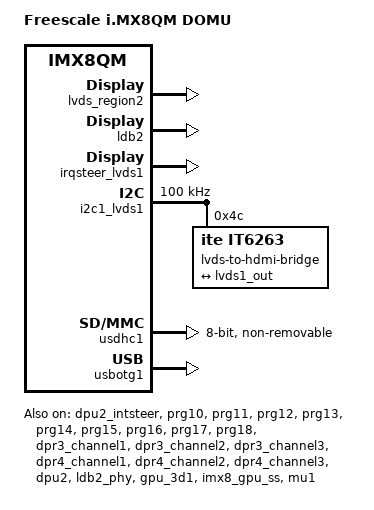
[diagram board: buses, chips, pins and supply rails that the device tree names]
/*
 * Copyright 2018 NXP
 *
 * This program is free software; you can redistribute it and/or
 * modify it under the terms of the GNU General Public License
 * as published by the Free Software Foundation; either version 2
 * of the License, or (at your option) any later version.
 *
 * This program is distributed in the hope that it will be useful,
 * but WITHOUT ANY WARRANTY; without even the implied warranty of
 * MERCHANTABILITY or FITNESS FOR A PARTICULAR PURPOSE.  See the
 * GNU General Public License for more details.
 */

/dts-v1/;
#include <dt-bindings/interrupt-controller/arm-gic.h>
#include <dt-bindings/clock/imx8qm-clock.h>
#include <dt-bindings/input/input.h>
#include <dt-bindings/soc/imx_rsrc.h>
#include <dt-bindings/soc/imx8_hsio.h>
#include <dt-bindings/soc/imx8_pd.h>
#include <dt-bindings/pinctrl/pads-imx8qm.h>
#include <dt-bindings/gpio/gpio.h>
#include <dt-bindings/thermal/thermal.h>

/ {
	model = "Freescale i.MX8QM DOMU";
	compatible = "fsl,imx8qm-mek", "fsl,imx8qm";

	#address-cells = <2>;
	#size-cells = <2>;

	/delete-node/ aliases;

	aliases {
		mmc0 = &usdhc1;
		dpu1 = &dpu2;
		ldb1 = &ldb2;
	};

	passthrough {
		compatible = "simple-bus";
		ranges;
		#address-cells = <2>;
		#size-cells = <2>;

		clk: clk {
			compatible = "fsl,imx8qm-clk";
			#clock-cells = <1>;
			fsl,lpcg_base_offset = <0x00000001 0x00000000>;
		};

		iomuxc: iomuxc {
			compatible = "fsl,imx8qm-iomuxc";
		};

		#include "fsl-imx8qm-device.dtsi"

		mu1: mu@15d1d0000 {
			compatible = "fsl,imx8-mu";
			reg = <0x1 0x5d1d0000 0x0 0x10000>;
			interrupts = <GIC_SPI 177 IRQ_TYPE_LEVEL_HIGH>;
			fsl,scu_ap_mu_id = <0>;
			status = "okay";
		};

		usb_lpcg {
			reg = <0x1 0x5b270000 0x0 0x10000>;
		};

	};
};

/delete-node/ &tsens;
/delete-node/ &thermal_zones;
/delete-node/ &rtc;

&display {
	ports = <&dpu2_disp0>, <&dpu2_disp1>;
};

&dpu2_intsteer {
	reg = <0x1 0x57000000 0x0 0x10000>;
	status = "okay";
};

&prg10 {
	reg = <0x1 0x57040000 0x0 0x10000>;
	status = "okay";
};

&prg11 {
	reg = <0x1 0x57050000 0x0 0x10000>;
	status = "okay";
};

&prg12 {
	reg = <0x1 0x57060000 0x0 0x10000>;
	status = "okay";
};

&prg13 {
	reg = <0x1 0x57070000 0x0 0x10000>;
	status = "okay";
};

&prg14 {
	reg = <0x1 0x57080000 0x0 0x10000>;
	status = "okay";
};

&prg15 {
	reg = <0x1 0x57090000 0x0 0x10000>;
	status = "okay";
};

&prg16 {
	reg = <0x1 0x570a0000 0x0 0x10000>;
	status = "okay";
};

&prg17 {
	reg = <0x1 0x570b0000 0x0 0x10000>;
	status = "okay";
};

&prg18 {
	reg = <0x1 0x570c0000 0x0 0x10000>;
	status = "okay";
};

&dpr3_channel1 {
	reg = <0x1 0x570d0000 0x0 0x10000>;
	status = "okay";
};

&dpr3_channel2 {
	reg = <0x1 0x570e0000 0x0 0x10000>;
	status = "okay";
};

&dpr3_channel3 {
	reg = <0x1 0x570f0000 0x0 0x10000>;
	status = "okay";
};

&dpr4_channel1 {
	reg = <0x1 0x57100000 0x0 0x10000>;
	status = "okay";
};

&dpr4_channel2 {
	reg = <0x1 0x57110000 0x0 0x10000>;
	status = "okay";
};

&dpr4_channel3 {
	reg = <0x1 0x57120000 0x0 0x10000>;
	status = "okay";
};

&dpu2 {
	reg = <0x1 0x57180000 0x0 0x40000>;
	status = "okay";

	dpu2_disp0: port@0 {
		dpu2_disp0_mipi_dsi: mipi-dsi-endpoint {
			/delete-property/ remote-endpoint;
		};
	};
	dpu2_disp1: port@1 {
		reg = <1>;

		dpu2_disp1_lvds0: lvds0-endpoint {
			remote-endpoint = <&ldb2_lvds0>;
		};

		dpu2_disp1_lvds1: lvds1-endpoint {
			remote-endpoint = <&ldb2_lvds1>;
		};
	};
};

/delete-node/ &hdmi;
/delete-node/ &irqsteer_dsi0;
/delete-node/ &i2c0_mipi_dsi0;
/delete-node/ &mipi_dsi_csr1;
/delete-node/ &mipi_dsi_phy1;
/delete-node/ &mipi_dsi1;
/delete-node/ &mipi_dsi_bridge1;

&lvds_region2 {
	reg = <0x1 0x57240000 0x0 0x10000>;
	status = "okay";
};

&ldb2_phy {
	reg = <0x1 0x57241000 0x0 0x100>;
	status = "okay";
};

&ldb2 {
	status = "okay";

	lvds-channel@0 {
		fsl,data-mapping = "jeida";
		fsl,data-width = <24>;
		status = "okay";

		port@1 {
			reg = <1>;

			lvds1_out: endpoint {
				remote-endpoint = <&it6263_1_in>;
			};
		};
	};
};

/delete-node/ &lvds0_pwm;
/delete-node/ &dpu1_intsteer;
/delete-node/ &prg1;
/delete-node/ &prg2;
/delete-node/ &prg3;
/delete-node/ &prg4;
/delete-node/ &prg5;
/delete-node/ &prg6;
/delete-node/ &prg7;
/delete-node/ &prg8;
/delete-node/ &prg9;
/delete-node/ &dpr1_channel1;
/delete-node/ &dpr1_channel2;
/delete-node/ &dpr1_channel3;
/delete-node/ &dpr2_channel1;
/delete-node/ &dpr2_channel2;
/delete-node/ &dpr2_channel3;
/delete-node/ &dpu1;
/delete-node/ &irqsteer_dsi1;
/delete-node/ &i2c0_mipi_dsi1;
/delete-node/ &mipi_dsi_csr2;
/delete-node/ &mipi_dsi_phy2;
/delete-node/ &mipi_dsi2;
/delete-node/ &mipi_dsi_bridge2;
/delete-node/ &lvds_region1;
/delete-node/ &ldb1_phy;
/delete-node/ &ldb1;
/delete-node/ &lvds1_pwm;
/delete-node/ &camera;
/delete-node/ &i2c0;
/delete-node/ &i2c1;
/delete-node/ &i2c2;
/delete-node/ &i2c3;
/delete-node/ &i2c4;
/delete-node/ &i2c0_cm40;
/delete-node/ &i2c0_cm41;
/delete-node/ &irqsteer_hdmi;
/delete-node/ &i2c0_hdmi;

&irqsteer_lvds1 {
	reg = <0x1 0x57240000 0x0 0x1000>;
	/delete-property/ interrupt-parent;
	status = "okay";
};

&i2c1_lvds1 {
	reg = <0x1 0x57247000 0x0 0x1000>;
	status = "okay";
};

/delete-node/ &irqsteer_lvds0;
/delete-node/ &i2c1_lvds0;
/delete-node/ &irqsteer_csi0;
/delete-node/ &i2c0_mipi_csi0;
/delete-node/ &irqsteer_csi1;
/delete-node/ &i2c0_mipi_csi1;
/delete-node/ &lpspi0;
/delete-node/ &lpuart0;
/delete-node/ &lpuart1;
/delete-node/ &lpuart2;
/delete-node/ &lpuart3;
/delete-node/ &lpuart4;
/delete-node/ &emvsim0;
/delete-node/ &edma0;
/delete-node/ &edma2;
/delete-node/ &edma3;
/delete-node/ &gpio0;
/delete-node/ &gpio1;
/delete-node/ &gpio2;
/delete-node/ &gpio3;
/delete-node/ &gpio4;
/delete-node/ &gpio5;
/delete-node/ &gpio6;
/delete-node/ &gpio7;
/delete-node/ &gpio0_mipi_csi0;
/delete-node/ &gpio0_mipi_csi1;
/delete-node/ &gpt0;
/delete-node/ &pwm0;
/delete-node/ &pwm1;
/delete-node/ &pwm2;
/delete-node/ &pwm3;
/delete-node/ &pwm4;
/delete-node/ &pwm5;
/delete-node/ &pwm6;
/delete-node/ &pwm7;

&gpu_3d1 {
	reg = <0x0 0x24100000 0 0x40000>;
	status = "okay";
};

/delete-node/ &gpu_3d0;

&imx8_gpu_ss {
	/* xen guests have 3GB of low RAM @ 1GB */
	reg = <0x0 0x40000000 0x0 0xc0000000>;
	reg-names = "phys_baseaddr";
	cores = <&gpu_3d1>;
	status = "okay";
};

/delete-node/ &mlb;

&usdhc1 {
	compatible = "fsl,imx8qm-usdhc", "fsl,imx6sl-usdhc";
	/*interrupt-parent = <&gic>;*/
	/delete-property/ interrupt-parent;
	reg = <0x1 0x5b010000 0x0 0x10000>;
};

/delete-node/ &usdhc2;
/delete-node/ &usdhc3;
/delete-node/ &fec1;
/delete-node/ &fec2;

&usbmisc1 {
	reg = <0x1 0x5b0d0200 0x0 0x200>;
};

/delete-node/ &usbmisc2;

&usbphy1 {
	reg = <0x1 0x5b100000 0x0 0x200>;
};

/delete-node/ &usbh1;
/delete-node/ &usbotg3;
/delete-node/ &usbphynop1;
/delete-node/ &usbphynop2;

&usbotg1 {
	reg = <0x1 0x5b0d0000 0x0 0x200>;
	/delete-property/ interrupt-parent;
};

/delete-node/ &ddr_pmu0;
/delete-node/ &ddr_pmu1;
/delete-node/ &vpu;
/delete-node/ &acm;
/delete-node/ &esai0;
/delete-node/ &spdif0;
/delete-node/ &spdif1;
/delete-node/ &sai1;
/delete-node/ &sai0;
/delete-node/ &sai_hdmi_rx;
/delete-node/ &sai_hdmi_tx;
/delete-node/ &sai6;
/delete-node/ &sai7;
/delete-node/ &amix;
/delete-node/ &asrc0;
/delete-node/ &asrc1;
/delete-node/ &mqs;
/delete-node/ &flexspi0;

&dma_cap {
	compatible = "dma-capability";
	only-dma-mask32 = <1>;
};

/delete-node/ &hsio;
/delete-node/ &ocotp;
/delete-node/ &pciea;
/delete-node/ &pcieb;
/delete-node/ &sata;

/delete-node/ &intmux_cm40;
/delete-node/ &intmux_cm41;
/delete-node/ &imx_rpmsg;
/delete-node/ &sc_pwrkey;
/delete-node/ &wdog;
/delete-node/ &wu;

&iomuxc {
	imx8qm-mek {
		pinctrl_usdhc1: usdhc1grp {
			fsl,pins = <
				SC_P_EMMC0_CLK_CONN_EMMC0_CLK		0x06000041
				SC_P_EMMC0_CMD_CONN_EMMC0_CMD		0x00000021
				SC_P_EMMC0_DATA0_CONN_EMMC0_DATA0	0x00000021
				SC_P_EMMC0_DATA1_CONN_EMMC0_DATA1	0x00000021
				SC_P_EMMC0_DATA2_CONN_EMMC0_DATA2	0x00000021
				SC_P_EMMC0_DATA3_CONN_EMMC0_DATA3	0x00000021
				SC_P_EMMC0_DATA4_CONN_EMMC0_DATA4	0x00000021
				SC_P_EMMC0_DATA5_CONN_EMMC0_DATA5	0x00000021
				SC_P_EMMC0_DATA6_CONN_EMMC0_DATA6	0x00000021
				SC_P_EMMC0_DATA7_CONN_EMMC0_DATA7	0x00000021
				SC_P_EMMC0_STROBE_CONN_EMMC0_STROBE	0x06000041
				SC_P_EMMC0_RESET_B_CONN_EMMC0_RESET_B	0x00000021
			>;
		};

		pinctrl_usdhc1_100mhz: usdhc1grp100mhz {
			fsl,pins = <
				SC_P_EMMC0_CLK_CONN_EMMC0_CLK		0x06000040
				SC_P_EMMC0_CMD_CONN_EMMC0_CMD		0x00000020
				SC_P_EMMC0_DATA0_CONN_EMMC0_DATA0	0x00000020
				SC_P_EMMC0_DATA1_CONN_EMMC0_DATA1	0x00000020
				SC_P_EMMC0_DATA2_CONN_EMMC0_DATA2	0x00000020
				SC_P_EMMC0_DATA3_CONN_EMMC0_DATA3	0x00000020
				SC_P_EMMC0_DATA4_CONN_EMMC0_DATA4	0x00000020
				SC_P_EMMC0_DATA5_CONN_EMMC0_DATA5	0x00000020
				SC_P_EMMC0_DATA6_CONN_EMMC0_DATA6	0x00000020
				SC_P_EMMC0_DATA7_CONN_EMMC0_DATA7	0x00000020
				SC_P_EMMC0_STROBE_CONN_EMMC0_STROBE	0x06000040
				SC_P_EMMC0_RESET_B_CONN_EMMC0_RESET_B	0x00000020
			>;
		};

		pinctrl_usdhc1_200mhz: usdhc1grp200mhz {
			fsl,pins = <
				SC_P_EMMC0_CLK_CONN_EMMC0_CLK		0x06000040
				SC_P_EMMC0_CMD_CONN_EMMC0_CMD		0x00000020
				SC_P_EMMC0_DATA0_CONN_EMMC0_DATA0	0x00000020
				SC_P_EMMC0_DATA1_CONN_EMMC0_DATA1	0x00000020
				SC_P_EMMC0_DATA2_CONN_EMMC0_DATA2	0x00000020
				SC_P_EMMC0_DATA3_CONN_EMMC0_DATA3	0x00000020
				SC_P_EMMC0_DATA4_CONN_EMMC0_DATA4	0x00000020
				SC_P_EMMC0_DATA5_CONN_EMMC0_DATA5	0x00000020
				SC_P_EMMC0_DATA6_CONN_EMMC0_DATA6	0x00000020
				SC_P_EMMC0_DATA7_CONN_EMMC0_DATA7	0x00000020
				SC_P_EMMC0_STROBE_CONN_EMMC0_STROBE	0x06000040
				SC_P_EMMC0_RESET_B_CONN_EMMC0_RESET_B	0x00000020
			>;
		};

		pinctrl_usbotg1: usbotg1 {
			fsl,pins = <
				SC_P_USB_SS3_TC0_CONN_USB_OTG1_PWR		0x00000021
			>;
		};

		pinctrl_lvds1_lpi2c1: lvds1lpi2c1grp {
			fsl,pins = <
				SC_P_LVDS1_I2C1_SCL_LVDS1_I2C1_SCL	0xc600004c
				SC_P_LVDS1_I2C1_SDA_LVDS1_I2C1_SDA	0xc600004c
			>;
		};



	};
};

&usdhc1 {
	/delete-property/ iommus;
	pinctrl-names = "default", "state_100mhz", "state_200mhz";
	pinctrl-0 = <&pinctrl_usdhc1>;
	pinctrl-1 = <&pinctrl_usdhc1_100mhz>;
	pinctrl-2 = <&pinctrl_usdhc1_200mhz>;
	bus-width = <8>;
	non-removable;
	status = "okay";
};

&usbotg1 {
	pinctrl-names = "default";
	pinctrl-0 = <&pinctrl_usbotg1>;
	srp-disable;
	hnp-disable;
	adp-disable;
	power-polarity-active-high;
	disable-over-current;
	status = "okay";
};

&i2c1_lvds1 {
	#address-cells = <1>;
	#size-cells = <0>;
	pinctrl-names = "default";
	pinctrl-0 = <&pinctrl_lvds1_lpi2c1>;
	clock-frequency = <100000>;
	status = "okay";

	lvds-to-hdmi-bridge@4c {
		compatible = "ite,it6263";
		reg = <0x4c>;

		port {
			it6263_1_in: endpoint {
				clock-lanes = <3>;
				data-lanes = <0 1 2 4>;
				remote-endpoint = <&lvds1_out>;
			};
		};
	};
};
